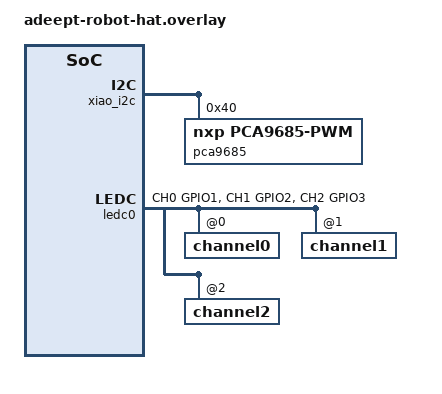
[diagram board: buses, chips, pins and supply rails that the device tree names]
#include <zephyr/dt-bindings/pinctrl/esp32s3-pinctrl.h>

 /* XIAO     HAT (PIN, not GPIO) */
 /*  D4  --> 3   I2C SDA */
 /*  D5  --> 5   I2C SCL */
 /*  3V3 --> 1   powers the HAT (else i2c scan is empty) */
 /*  GND --> 9 */

&xiao_i2c {
	status = "okay";

	pca9685: pca9685@40 {
		compatible = "nxp,pca9685-pwm";
		reg = <0x40>;
		#pwm-cells = <3>;
		status = "okay";
	};
};

&pinctrl {
	ledc0_rgb: ledc0_rgb {
		group1 {
			pinmux = <LEDC_CH0_GPIO1>, <LEDC_CH1_GPIO2>, <LEDC_CH2_GPIO3>;
			output-enable;
		};
	};
};

&ledc0 {
	pinctrl-0 = <&ledc0_rgb>;
	pinctrl-names = "default";
	status = "okay";
	#address-cells = <1>;
	#size-cells = <0>;

	channel0@0 { reg = <0x0>; timer = <0>; inverted; };
	channel1@1 { reg = <0x1>; timer = <0>; inverted; };
	channel2@2 { reg = <0x2>; timer = <0>; inverted; };
};
